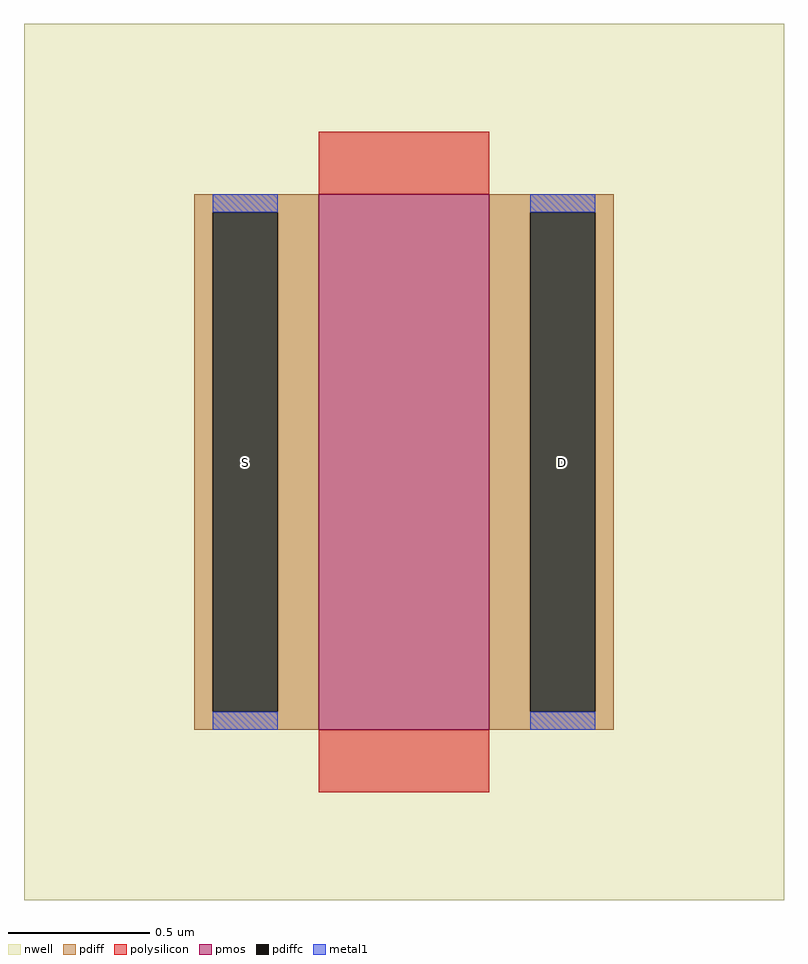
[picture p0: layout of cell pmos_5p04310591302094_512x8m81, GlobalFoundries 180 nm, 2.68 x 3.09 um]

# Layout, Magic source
magic
tech gf180mcuD
magscale 1 10
<< nwell >>
rect -208 -120 328 498
<< pmos >>
rect 0 0 120 378
<< pdiff >>
rect -88 365 0 378
rect -88 13 -75 365
rect -29 13 0 365
rect -88 0 0 13
rect 120 365 208 378
rect 120 13 149 365
rect 195 13 208 365
rect 120 0 208 13
<< pdiffc >>
rect -75 13 -29 365
rect 149 13 195 365
<< polysilicon >>
rect 0 378 120 422
rect 0 -44 120 0
<< metal1 >>
rect -75 365 -29 378
rect -75 0 -29 13
rect 149 365 195 378
rect 149 0 195 13
<< labels >>
flabel pdiffc -52 189 -52 189 0 FreeSans 400 0 0 0 S
flabel pdiffc 172 189 172 189 0 FreeSans 400 0 0 0 D
<< end >>
